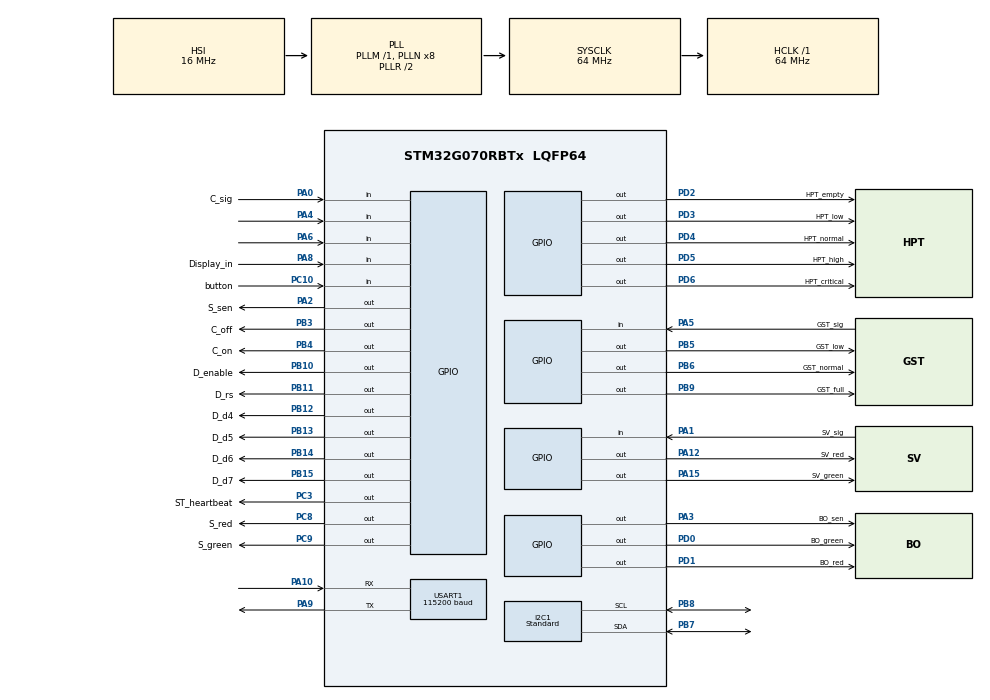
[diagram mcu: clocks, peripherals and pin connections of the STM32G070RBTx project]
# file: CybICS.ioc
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FREERTOS.Tasks01=defaultTask,0,128,FdefaultTask,Default,NULL,Dynamic,NULL,NULL;heartBeat,-3,128,FheartBeat,Default,NULL,Dynamic,NULL,NULL;display,0,256,Fdisplay,Default,NULL,Dynamic,NULL,NULL;physical,1,256,Fphysical,Default,NULL,Dynamic,NULL,NULL;i2chandler,0,128,Fi2chandler,Default,NULL,Dynamic,NULL,NULL;writeOutput,3,128,FwriteOutput,Default,NULL,Dynamic,NULL,NULL;uart,-2,256,Fuart,Default,NULL,Dynamic,NULL,NULL
FREERTOS.configCHECK_FOR_STACK_OVERFLOW=2
FREERTOS.configGENERATE_RUN_TIME_STATS=1
FREERTOS.configTOTAL_HEAP_SIZE=8192
FREERTOS.configUSE_STATS_FORMATTING_FUNCTIONS=1
I2C1.CustomTiming=Disabled
I2C1.DualAddressMode=I2C_DUALADDRESS_DISABLE
I2C1.GeneralCallMode=I2C_GENERALCALL_ENABLE
I2C1.I2C_Speed_Mode=I2C_Standard
I2C1.NoStretchMode=I2C_NOSTRETCH_DISABLE
I2C1.OwnAddress=0x20
I2C1.Timing=0x10707DBC
Mcu.Family=STM32G0
Mcu.Name=STM32G070RBTx
Mcu.Package=LQFP64
NVIC.I2C1_IRQn=true\:3\:0\:false\:false\:true\:true\:true\:true\:true
NVIC.TIM1_BRK_UP_TRG_COM_IRQn=true\:3\:0\:false\:false\:true\:false\:false\:true\:true
NVIC.TimeBase=TIM1_BRK_UP_TRG_COM_IRQn
NVIC.TimeBaseIP=TIM1
PA0.GPIO_Label=C_sig
PA0.Signal=GPIO_Input
PA1.GPIO_Label=SV_sig
PA1.Signal=GPIO_Input
PA10.GPIO_FMPA10=SYSCFG_FASTMODEPLUS_PA10
PA10.GPIO_PuPd=GPIO_PULLUP
PA10.GPIO_Speed=GPIO_SPEED_FREQ_VERY_HIGH
PA10.Mode=Asynchronous
PA10.Signal=USART1_RX
PA12\ [PA10].GPIO_Label=SV_red
PA12\ [PA10].Signal=GPIO_Output
PA13.Mode=Serial_Wire
PA13.Signal=SYS_SWDIO
PA14-BOOT0.Mode=Serial_Wire
PA14-BOOT0.Signal=SYS_SWCLK
PA15.GPIO_Label=SV_green
PA15.Signal=GPIO_Output
PA2.GPIO_Label=S_sen
PA2.Signal=GPIO_Output
PA3.GPIO_Label=BO_sen
PA3.Signal=GPIO_Output
PA4.Signal=GPIO_Input
PA5.GPIO_Label=GST_sig
PA5.Signal=GPIO_Input
PA6.Signal=GPIO_Input
PA8.GPIO_Label=Display_in
PA8.Signal=GPIO_Input
PA9.GPIO_FMPA9=SYSCFG_FASTMODEPLUS_PA9
PA9.GPIO_PuPd=GPIO_PULLUP
PA9.GPIO_Speed=GPIO_SPEED_FREQ_VERY_HIGH
PA9.Mode=Asynchronous
PA9.Signal=USART1_TX
PB10.GPIO_Label=D_enable
PB10.Signal=GPIO_Output
PB11.GPIO_Label=D_rs
PB11.Signal=GPIO_Output
PB12.GPIO_Label=D_d4
PB12.Signal=GPIO_Output
PB13.GPIO_Label=D_d5
PB13.Signal=GPIO_Output
PB14.GPIO_Label=D_d6
PB14.Signal=GPIO_Output
PB15.GPIO_Label=D_d7
PB15.Signal=GPIO_Output
PB3.GPIO_Label=C_off
PB3.Signal=GPIO_Output
PB4.GPIO_Label=C_on
PB4.Signal=GPIO_Output
PB5.GPIO_Label=GST_low
PB5.Signal=GPIO_Output
PB6.GPIO_Label=GST_normal
PB6.Signal=GPIO_Output
PB7.GPIO_Mode=GPIO_MODE_AF_OD
PB7.GPIO_Pu=GPIO_NOPULL
PB7.GPIO_Speed=GPIO_SPEED_FREQ_LOW
PB7.Mode=I2C
PB7.Signal=I2C1_SDA
PB8.GPIO_Mode=GPIO_MODE_AF_OD
PB8.GPIO_Pu=GPIO_NOPULL
PB8.GPIO_Speed=GPIO_SPEED_FREQ_LOW
PB8.Mode=I2C
PB8.Signal=I2C1_SCL
PB9.GPIO_Label=GST_full
PB9.Signal=GPIO_Output
PC10.GPIO_Label=button
PC10.Signal=GPIO_Input
PC3.GPIO_Label=ST_heartbeat
PC3.Signal=GPIO_Output
PC8.GPIO_Label=S_red
PC8.Signal=GPIO_Output
PC9.GPIO_Label=S_green
PC9.Signal=GPIO_Output
PD0.GPIO_Label=BO_green
PD0.Signal=GPIO_Output
PD1.GPIO_Label=BO_red
PD1.Signal=GPIO_Output
PD2.GPIO_Label=HPT_empty
PD2.Signal=GPIO_Output
PD3.GPIO_Label=HPT_low
PD3.Signal=GPIO_Output
PD4.GPIO_Label=HPT_normal
PD4.Signal=GPIO_Output
PD5.GPIO_Label=HPT_high
PD5.Signal=GPIO_Output
PD6.GPIO_Label=HPT_critical
PD6.Signal=GPIO_Output
ProjectManager.HeapSize=0x200
ProjectManager.StackSize=0x400
ProjectManager.TargetToolchain=Makefile
RCC.ADCFreq_Value=64000000
RCC.AHBFreq_Value=64000000
RCC.CortexFreq_Value=64000000
RCC.EXTERNAL_CLOCK_VALUE=48000
RCC.HCLKFreq_Value=64000000
RCC.HSE_VALUE=8000000
RCC.HSI_VALUE=16000000
RCC.LSE_VALUE=32768
RCC.SYSCLKFreq_VALUE=64000000
RCC.SYSCLKSource=RCC_SYSCLKSOURCE_PLLCLK
RCC.VCOOutputFreq_Value=128000000
USART1.BaudRate=115200
USART1.Mode=MODE_TX_RX
USART1.VirtualMode-Asynchronous=VM_ASYNC
VP_FREERTOS_VS_CMSIS_V1.Mode=CMSIS_V1
VP_SYS_VS_DBSignals.Mode=DisableDeadBatterySignals
VP_SYS_VS_tim1.Mode=TIM1
board=custom

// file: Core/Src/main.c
/* USER CODE BEGIN Header */
/**
  ******************************************************************************
  * @file           : main.c
  * @brief          : Main program body
  ******************************************************************************
  * @attention
  *
  * Copyright (c) 2023 STMicroelectronics.
  * All rights reserved.
  *
  * This software is licensed under terms that can be found in the LICENSE file
  * in the root directory of this software component.
  * If no LICENSE file comes with this software, it is provided AS-IS.
  *
  ******************************************************************************
  */
/* USER CODE END Header */
#include "main.h"
#include "cmsis_os.h"

/* USER CODE BEGIN Includes */
#include "stm32g0xx_ll_utils.h"
#include "display.h"
#include "colors.h"
#include <stdio.h>
#include <errno.h>
#include <stdlib.h>
#include <sys/unistd.h>
#include <sys/stat.h>
#include <sys/times.h>
#include <sys/types.h>
/* USER CODE END Includes */

/* USER CODE BEGIN PTD */
uint8_t RxData[20] = {0,0,0,0,0,0,0,0,0,0,0,0,0,0,0,0,0,0,0,0};

uint8_t TxData[20] = {'X','X','X',':',' ','0','0','0',' ','H','P','T',':',' ','0','0','0'};
uint8_t TxDataUID[13] = {0};
char rpiIP[15] = {'U','N','K','N','O','W','N',0,0,0,0,0,0,0,0};
uint8_t GSTpressure=0;
uint8_t HPTpressure=0;

// Login credentials
#define LOGIN_PASSWORD "cyb"

// Menu options
#define MENU_STATUS '1'
#define MENU_FLAG '2'
#define MENU_CONTROLS '3'
#define MENU_FREERTOS '4'
#define MENU_MCU '5'
#define MENU_HELP '6'
#define MENU_LOGOUT '7'

uint8_t C_on = 0;
uint8_t C_off = 0;
uint8_t S_green = 0;
uint8_t S_red = 0;
uint8_t S_sen = 0;
uint8_t SV_green = 0;
uint8_t SV_red = 0;
uint8_t BO_red = 0;
uint8_t BO_green = 0;
uint8_t BO_sen = 0;
uint8_t GST_full = 0;
uint8_t GST_normal = 0;
uint8_t GST_low = 0;
uint8_t HPT_critical = 0;
uint8_t HPT_high = 0;
uint8_t HPT_normal = 0;
uint8_t HPT_low = 0;
uint8_t HPT_empty = 0;

/* USER CODE END PTD */

/* USER CODE BEGIN PD */
#define LOG_ERR 0x03
#define LOG_WAR 0x02
#define LOG_INF 0x01
#define LOG_DEB 0x00

#define showLogLevel LOG_DEB
/* USER CODE END PD */

I2C_HandleTypeDef hi2c1;

UART_HandleTypeDef huart1;

osThreadId defaultTaskHandle;
osThreadId heartBeatHandle;
osThreadId displayHandle;
osThreadId physicalHandle;
osThreadId i2chandlerHandle;
osThreadId writeOutputHandle;
osThreadId uartHandle;

void SystemClock_Config(void);
static void MX_GPIO_Init(void);
static void MX_I2C1_Init(void);
static void MX_USART1_UART_Init(void);
void FdefaultTask(void const * argument);
void FheartBeat(void const * argument);
void Fdisplay(void const * argument);
void Fphysical(void const * argument);
void Fi2chandler(void const * argument);
void FwriteOutput(void const * argument);
void Fuart(void const * argument);

/* USER CODE BEGIN PFP */
#ifdef __GNUC__
#define PUTCHAR_PROTOTYPE int __io_putchar(int ch)
#else
#define PUTCHAR_PROTOTYPE int fputc(int ch, FILE *f)
#endif

/* USER CODE END PFP */

/* USER CODE BEGIN 0 */
SemaphoreHandle_t huart1Mutex;

// System call implementations
int _write(int file, char * data, int len) {
    if ((file != STDOUT_FILENO) && (file != STDERR_FILENO)) {
        errno = EBADF;
        return -1;
    }

    HAL_StatusTypeDef status = HAL_OK;
    if (xSemaphoreTake(huart1Mutex, 100) == pdTRUE) {
        status = HAL_UART_Transmit(&huart1, (uint8_t *)data, len, 100);
        xSemaphoreGive(huart1Mutex);
    }

    return (status == HAL_OK ? len : 0);
}

int _read(int file, char *ptr, int len) {
    if (file != STDIN_FILENO) {
        errno = EBADF;
        return -1;
    }
    return 0;
}

int _close(int file) {
    return -1;
}

int _fstat(int file, struct stat *st) {
    st->st_mode = S_IFCHR;
    return 0;
}

int _isatty(int file) {
    return 1;
}

int _lseek(int file, int ptr, int dir) {
    return 0;
}

int _open(char *path, int flags, ...) {
    return -1;
}

int _wait(int *status) {
    errno = ECHILD;
    return -1;
}

int _unlink(char *name) {
    errno = ENOENT;
    return -1;
}

int _times(struct tms *buf) {
    return -1;
}

int _stat(char *file, struct stat *st) {
    st->st_mode = S_IFCHR;
    return 0;
}

int _link(char *old, char *new) {
    errno = EMLINK;
    return -1;
}

void _exit(int status) {
    while(1);
}

int _kill(int pid, int sig) {
    errno = EINVAL;
    return -1;
}

int _getpid(void) {
    return 1;
}

void logging(unsigned char logLevel, const char *fmt, ...){
    if(showLogLevel <= logLevel){
        if(logLevel == LOG_ERR)
        {
            printf("%sERR: %s%s\r\n", CRED, fmt, CRST);
        }
        else if(logLevel == LOG_WAR)
        {
            printf("%sWAR: %s%s\r\n", CYEL, fmt, CRST);
        }
        else if(logLevel == LOG_INF)
        {
            printf("%sINF: %s%s\r\n", CBLU, fmt, CRST);
        }
        else if(logLevel == LOG_DEB)
        {
            printf("%sDEB: %s%s\r\n", CMAG, fmt, CRST);
        }
        else
        {
            printf("%s???: %s%s\r\n", CRED, fmt, CRST);
        }
    }
}
/* USER CODE END 0 */

int main(void)
{

  /* MCU Configuration--------------------------------------------------------*/

  /* Reset of all peripherals, Initializes the Flash interface and the Systick. */
  HAL_Init();

  /* Configure the system clock */
  SystemClock_Config();

  /* Initialize all configured peripherals */
  MX_GPIO_Init();
  MX_I2C1_Init();
  MX_USART1_UART_Init();
  /* USER CODE BEGIN 2 */
  if(HAL_I2C_EnableListen_IT(&hi2c1) != HAL_OK)
  {
    /* Transfer error in reception process */
    Error_Handler();
  }

  huart1Mutex = xSemaphoreCreateMutex();
  /* USER CODE END 2 */

  /* Create the thread(s) */
  /* definition and creation of defaultTask */
  osThreadDef(defaultTask, FdefaultTask, osPriorityNormal, 0, 128);
  defaultTaskHandle = osThreadCreate(osThread(defaultTask), NULL);

  /* definition and creation of heartBeat */
  osThreadDef(heartBeat, FheartBeat, osPriorityIdle, 0, 128);
  heartBeatHandle = osThreadCreate(osThread(heartBeat), NULL);

  /* definition and creation of display */
  osThreadDef(display, Fdisplay, osPriorityNormal, 0, 256);
  displayHandle = osThreadCreate(osThread(display), NULL);

  /* definition and creation of physical */
  osThreadDef(physical, Fphysical, osPriorityAboveNormal, 0, 256);
  physicalHandle = osThreadCreate(osThread(physical), NULL);

  /* definition and creation of i2chandler */
  osThreadDef(i2chandler, Fi2chandler, osPriorityNormal, 0, 128);
  i2chandlerHandle = osThreadCreate(osThread(i2chandler), NULL);

  /* definition and creation of writeOutput */
  osThreadDef(writeOutput, FwriteOutput, osPriorityRealtime, 0, 128);
  writeOutputHandle = osThreadCreate(osThread(writeOutput), NULL);

  /* definition and creation of uart */
  osThreadDef(uart, Fuart, osPriorityLow, 0, 256);
  uartHandle = osThreadCreate(osThread(uart), NULL);

  /* Start scheduler */
  osKernelStart();

  /* We should never get here as control is now taken by the scheduler */

  /* Infinite loop */
  while (1)
  {

  }
}

void SystemClock_Config(void)
{
  RCC_OscInitTypeDef RCC_OscInitStruct = {0};
  RCC_ClkInitTypeDef RCC_ClkInitStruct = {0};

  /** Configure the main internal regulator output voltage
  */
  HAL_PWREx_ControlVoltageScaling(PWR_REGULATOR_VOLTAGE_SCALE1);

  /** Initializes the RCC Oscillators according to the specified parameters
  * in the RCC_OscInitTypeDef structure.
  */
  RCC_OscInitStruct.OscillatorType = RCC_OSCILLATORTYPE_HSI;
  RCC_OscInitStruct.HSIState = RCC_HSI_ON;
  RCC_OscInitStruct.HSIDiv = RCC_HSI_DIV1;
  RCC_OscInitStruct.HSICalibrationValue = RCC_HSICALIBRATION_DEFAULT;
  RCC_OscInitStruct.PLL.PLLState = RCC_PLL_ON;
  RCC_OscInitStruct.PLL.PLLSource = RCC_PLLSOURCE_HSI;
  RCC_OscInitStruct.PLL.PLLM = RCC_PLLM_DIV1;
  RCC_OscInitStruct.PLL.PLLN = 8;
  RCC_OscInitStruct.PLL.PLLP = RCC_PLLP_DIV2;
  RCC_OscInitStruct.PLL.PLLR = RCC_PLLR_DIV2;
  if (HAL_RCC_OscConfig(&RCC_OscInitStruct) != HAL_OK)
  {
    Error_Handler();
  }

  /** Initializes the CPU, AHB and APB buses clocks
  */
  RCC_ClkInitStruct.ClockType = RCC_CLOCKTYPE_HCLK|RCC_CLOCKTYPE_SYSCLK
                              |RCC_CLOCKTYPE_PCLK1;
  RCC_ClkInitStruct.SYSCLKSource = RCC_SYSCLKSOURCE_PLLCLK;
  RCC_ClkInitStruct.AHBCLKDivider = RCC_SYSCLK_DIV1;
  RCC_ClkInitStruct.APB1CLKDivider = RCC_HCLK_DIV1;

  if (HAL_RCC_ClockConfig(&RCC_ClkInitStruct, FLASH_LATENCY_2) != HAL_OK)
  {
    Error_Handler();
  }
}

static void MX_I2C1_Init(void)
{

  hi2c1.Instance = I2C1;
  hi2c1.Init.Timing = 0x10707DBC;
  hi2c1.Init.OwnAddress1 = 64;
  hi2c1.Init.AddressingMode = I2C_ADDRESSINGMODE_7BIT;
  hi2c1.Init.DualAddressMode = I2C_DUALADDRESS_DISABLE;
  hi2c1.Init.OwnAddress2 = 0;
  hi2c1.Init.OwnAddress2Masks = I2C_OA2_NOMASK;
  hi2c1.Init.GeneralCallMode = I2C_GENERALCALL_ENABLE;
  hi2c1.Init.NoStretchMode = I2C_NOSTRETCH_DISABLE;
  if (HAL_I2C_Init(&hi2c1) != HAL_OK)
  {
    Error_Handler();
  }

  /** Configure Analogue filter
  */
  if (HAL_I2CEx_ConfigAnalogFilter(&hi2c1, I2C_ANALOGFILTER_ENABLE) != HAL_OK)
  {
    Error_Handler();
  }

  /** Configure Digital filter
  */
  if (HAL_I2CEx_ConfigDigitalFilter(&hi2c1, 0) != HAL_OK)
  {
    Error_Handler();
  }

}

static void MX_USART1_UART_Init(void)
{

  huart1.Instance = USART1;
  huart1.Init.BaudRate = 115200;
  huart1.Init.WordLength = UART_WORDLENGTH_8B;
  huart1.Init.StopBits = UART_STOPBITS_1;
  huart1.Init.Parity = UART_PARITY_NONE;
  huart1.Init.Mode = UART_MODE_TX_RX;
  huart1.Init.HwFlowCtl = UART_HWCONTROL_NONE;
  huart1.Init.OverSampling = UART_OVERSAMPLING_16;
  huart1.Init.OneBitSampling = UART_ONE_BIT_SAMPLE_DISABLE;
  huart1.Init.ClockPrescaler = UART_PRESCALER_DIV1;
  huart1.AdvancedInit.AdvFeatureInit = UART_ADVFEATURE_NO_INIT;
  if (HAL_UART_Init(&huart1) != HAL_OK)
  {
    Error_Handler();
  }
  if (HAL_UARTEx_SetTxFifoThreshold(&huart1, UART_TXFIFO_THRESHOLD_1_8) != HAL_OK)
  {
    Error_Handler();
  }
  if (HAL_UARTEx_SetRxFifoThreshold(&huart1, UART_RXFIFO_THRESHOLD_1_8) != HAL_OK)
  {
    Error_Handler();
  }
  if (HAL_UARTEx_DisableFifoMode(&huart1) != HAL_OK)
  {
    Error_Handler();
  }

}

static void MX_GPIO_Init(void)
{
  GPIO_InitTypeDef GPIO_InitStruct = {0};

  /* GPIO Ports Clock Enable */
  __HAL_RCC_GPIOC_CLK_ENABLE();
  __HAL_RCC_GPIOA_CLK_ENABLE();
  __HAL_RCC_GPIOB_CLK_ENABLE();
  __HAL_RCC_GPIOD_CLK_ENABLE();

  /*Configure GPIO pin Output Level */
  HAL_GPIO_WritePin(GPIOC, ST_heartbeat_Pin|S_red_Pin|S_green_Pin, GPIO_PIN_RESET);

  /*Configure GPIO pin Output Level */
  HAL_GPIO_WritePin(GPIOA, S_sen_Pin|BO_sen_Pin|SV_red_Pin|SV_green_Pin, GPIO_PIN_RESET);

  /*Configure GPIO pin Output Level */
  HAL_GPIO_WritePin(GPIOB, D_enable_Pin|D_rs_Pin|D_d4_Pin|D_d5_Pin
                          |D_d6_Pin|D_d7_Pin|C_off_Pin|C_on_Pin
                          |GST_low_Pin|GST_normal_Pin|GST_full_Pin, GPIO_PIN_RESET);

  /*Configure GPIO pin Output Level */
  HAL_GPIO_WritePin(GPIOD, BO_green_Pin|BO_red_Pin|HPT_empty_Pin|HPT_low_Pin
                          |HPT_normal_Pin|HPT_high_Pin|HPT_critical_Pin, GPIO_PIN_RESET);

  /*Configure GPIO pins : ST_heartbeat_Pin S_red_Pin S_green_Pin */
  GPIO_InitStruct.Pin = ST_heartbeat_Pin|S_red_Pin|S_green_Pin;
  GPIO_InitStruct.Mode = GPIO_MODE_OUTPUT_PP;
  GPIO_InitStruct.Pull = GPIO_NOPULL;
  GPIO_InitStruct.Speed = GPIO_SPEED_FREQ_LOW;
  HAL_GPIO_Init(GPIOC, &GPIO_InitStruct);

  /*Configure GPIO pins : C_sig_Pin SV_sig_Pin PA4 GST_sig_Pin
                           PA6 Display_in_Pin */
  GPIO_InitStruct.Pin = C_sig_Pin|SV_sig_Pin|GPIO_PIN_4|GST_sig_Pin
                          |GPIO_PIN_6|Display_in_Pin;
  GPIO_InitStruct.Mode = GPIO_MODE_INPUT;
  GPIO_InitStruct.Pull = GPIO_NOPULL;
  HAL_GPIO_Init(GPIOA, &GPIO_InitStruct);

  /*Configure GPIO pins : S_sen_Pin BO_sen_Pin SV_red_Pin SV_green_Pin */
  GPIO_InitStruct.Pin = S_sen_Pin|BO_sen_Pin|SV_red_Pin|SV_green_Pin;
  GPIO_InitStruct.Mode = GPIO_MODE_OUTPUT_PP;
  GPIO_InitStruct.Pull = GPIO_NOPULL;
  GPIO_InitStruct.Speed = GPIO_SPEED_FREQ_LOW;
  HAL_GPIO_Init(GPIOA, &GPIO_InitStruct);

  /*Configure GPIO pins : D_enable_Pin D_rs_Pin D_d4_Pin D_d5_Pin
                           D_d6_Pin D_d7_Pin C_off_Pin C_on_Pin
                           GST_low_Pin GST_normal_Pin GST_full_Pin */
  GPIO_InitStruct.Pin = D_enable_Pin|D_rs_Pin|D_d4_Pin|D_d5_Pin
                          |D_d6_Pin|D_d7_Pin|C_off_Pin|C_on_Pin
                          |GST_low_Pin|GST_normal_Pin|GST_full_Pin;
  GPIO_InitStruct.Mode = GPIO_MODE_OUTPUT_PP;
  GPIO_InitStruct.Pull = GPIO_NOPULL;
  GPIO_InitStruct.Speed = GPIO_SPEED_FREQ_LOW;
  HAL_GPIO_Init(GPIOB, &GPIO_InitStruct);

  /*Configure GPIO pins : BO_green_Pin BO_red_Pin HPT_empty_Pin HPT_low_Pin
                           HPT_normal_Pin HPT_high_Pin HPT_critical_Pin */
  GPIO_InitStruct.Pin = BO_green_Pin|BO_red_Pin|HPT_empty_Pin|HPT_low_Pin
                          |HPT_normal_Pin|HPT_high_Pin|HPT_critical_Pin;
  GPIO_InitStruct.Mode = GPIO_MODE_OUTPUT_PP;
  GPIO_InitStruct.Pull = GPIO_NOPULL;
  GPIO_InitStruct.Speed = GPIO_SPEED_FREQ_LOW;
  HAL_GPIO_Init(GPIOD, &GPIO_InitStruct);

  /*Configure GPIO pin : button_Pin */
  GPIO_InitStruct.Pin = button_Pin;
  GPIO_InitStruct.Mode = GPIO_MODE_INPUT;
  GPIO_InitStruct.Pull = GPIO_NOPULL;
  HAL_GPIO_Init(button_GPIO_Port, &GPIO_InitStruct);

}

/* USER CODE BEGIN 4 */
void HAL_I2C_ListenCpltCallback (I2C_HandleTypeDef *hi2c)
{
	HAL_I2C_EnableListen_IT(hi2c);
}

void HAL_I2C_AddrCallback(I2C_HandleTypeDef *hi2c, uint8_t TransferDirection, uint16_t AddrMatchCode)
{
	if(TransferDirection == I2C_DIRECTION_TRANSMIT)  // if the master wants to transmit the data
	{
		HAL_I2C_Slave_Sequential_Receive_IT(hi2c, RxData, sizeof(RxData), I2C_FIRST_AND_LAST_FRAME);
	}
	else  // master requesting the data is not supported yet
	{
    if(RxData[0]==0){
		  HAL_I2C_Slave_Sequential_Transmit_IT(hi2c, TxData, sizeof(TxData), I2C_LAST_FRAME);
    }
    else if(RxData[0]==1){
      HAL_I2C_Slave_Sequential_Transmit_IT(hi2c, TxDataUID, sizeof(TxDataUID), I2C_LAST_FRAME);
    }
	}
}

void HAL_I2C_SlaveRxCpltCallback(I2C_HandleTypeDef *hi2c)
{

}

void HAL_I2C_ErrorCallback(I2C_HandleTypeDef *hi2c)
{
	HAL_I2C_EnableListen_IT(hi2c);
}
/* USER CODE END 4 */

void FdefaultTask(void const * argument)
{
  for(;;)
  {
    osDelay(1);
  }
}

void FheartBeat(void const * argument)
{
  /* USER CODE BEGIN FheartBeat */
  logging(LOG_DEB, "Starting FheartBeat");
  /* Infinite loop */
  for(;;)
  {
    HAL_GPIO_TogglePin(ST_heartbeat_GPIO_Port, ST_heartbeat_Pin);

    osDelay(1000);
  }
  /* USER CODE END FheartBeat */
}

void Fdisplay(void const * argument)
{
  /* USER CODE BEGIN Fdisplay */
  uint8_t shifting=0;
  uint8_t displayScreen=0;
  uint32_t secondsAfterStart = 0;
  uint8_t wifiPressed = 0;
  char displayText[20];

  osDelay(10);

  Lcd_PortType ports[] = {
		  D_d4_GPIO_Port, D_d5_GPIO_Port, D_d6_GPIO_Port, D_d7_GPIO_Port
  };

  Lcd_PinType pins[] = {D_d4_Pin, D_d5_Pin, D_d6_Pin, D_d7_Pin};
  Lcd_HandleTypeDef lcd = Lcd_create(ports, pins, D_rs_GPIO_Port, D_rs_Pin, D_enable_GPIO_Port, D_enable_Pin, LCD_4_BIT_MODE);

  logging(LOG_DEB, "Starting Fdisplay");

  snprintf((char*)TxDataUID, sizeof(TxDataUID), "%04lx%04lx%04lx", LL_GetUID_Word0(), LL_GetUID_Word1(), LL_GetUID_Word2());
  TxDataUID[12]='0'; // default STA

  /* Infinite loop */
  for(;;)
  {
    // Switch between station and AP mode of Wifi
    if(HAL_GPIO_ReadPin(button_GPIO_Port, button_Pin)){
      if(!wifiPressed){
        if(TxDataUID[12]=='0'){
          TxDataUID[12]='1';
        }
        else{
          TxDataUID[12]='0';
        }
        snprintf(rpiIP, sizeof(rpiIP), "%-14s", "Unknown");
        shifting=0;
        wifiPressed=1;
      }
    }
    else{
      wifiPressed=0;
    }

    // Switch between displays if Display button is pressed
    if(HAL_GPIO_ReadPin(Display_in_GPIO_Port, Display_in_Pin)){
      displayScreen++;
      if(displayScreen>3){
        displayScreen=0;
      }
    }

    secondsAfterStart++;
    // Display showing Cybics string and IP
    if(0==displayScreen){
      snprintf(displayText, sizeof(displayText), "%-16s", "CybICS v1.1.2");
      Lcd_cursor(&lcd, 0, 0);
      Lcd_string(&lcd, displayText);
      snprintf(displayText, sizeof(displayText), "%16li", secondsAfterStart);
      Lcd_cursor(&lcd, 1, 0);
      Lcd_string(&lcd, displayText);
    }
    // Display WiFi configuration
    else if(1==displayScreen){
      if(TxDataUID[12]=='0'){
        snprintf(displayText, sizeof(displayText), "%-16s", "Wifi STA mode");
        Lcd_cursor(&lcd, 0, 0);
        Lcd_string(&lcd, displayText);
        snprintf(displayText, sizeof(displayText), "IP: %-12s", &rpiIP[shifting]);
        Lcd_cursor(&lcd, 1, 0);
        Lcd_string(&lcd, displayText);

        if(strlen(rpiIP)>12)
        {
          shifting++;
        }
        if(shifting>3)
        {
          shifting=0;
        }
      }
      else if(TxDataUID[12]=='1'){
        snprintf(displayText, sizeof(displayText), "%-16s", "AP mode: cybics-");
        Lcd_cursor(&lcd, 0, 0);
        Lcd_string(&lcd, displayText);
        snprintf(displayText, sizeof(displayText), "%-16s", TxDataUID);
        displayText[12]=' '; // removing the 1, which is not part of the UID
        Lcd_cursor(&lcd, 1, 0);
        Lcd_string(&lcd, displayText);
      }
      else{
        snprintf(displayText, sizeof(displayText), "%-16s", "WiFi error");
        Lcd_cursor(&lcd, 0, 0);
        Lcd_string(&lcd, displayText);
      }
    }
    // Display showing real pressure values
    else if(2==displayScreen){
      snprintf(displayText, sizeof(displayText), "%-16s", "Physical/real:  ");
      Lcd_cursor(&lcd, 0, 0);
      Lcd_string(&lcd, displayText);
      snprintf(displayText, sizeof(displayText), "GST:%03d HPT:%03d ", GSTpressure, HPTpressure);
      Lcd_cursor(&lcd, 1, 0);
      Lcd_string(&lcd, displayText);
    }
    // Display showing status
    else if(3==displayScreen){
      snprintf(displayText, sizeof(displayText), "%-16s", "Status:");
      Lcd_cursor(&lcd, 0, 0);
      Lcd_string(&lcd, displayText);
      if(BO_sen>0){
        snprintf(displayText, sizeof(displayText), "%-16s", "Danger! BlowOut");
      }
      else if((HPTpressure>50) && (HPTpressure<100) && SV_green){
        snprintf(displayText, sizeof(displayText), "%-16s", "Operational");
      }
      else if((HPTpressure>50) && (HPTpressure<100)){
        snprintf(displayText, sizeof(displayText), "%-16s", "SV closed");
      }
      else if(HPTpressure>100){
        snprintf(displayText, sizeof(displayText), "%-16s", "Pressure too high");
      }
      else if(HPTpressure<=50){
        snprintf(displayText, sizeof(displayText), "%-16s", "Pressure too low");
      }
      Lcd_cursor(&lcd, 1, 0);
      Lcd_string(&lcd, displayText);
    }

    osDelay(1000);
  }
  /* USER CODE END Fdisplay */
}

void Fphysical(void const * argument)
{
  /* USER CODE BEGIN Fphysical */
  uint8_t HPTuse=0;
  osDelay(20);

  logging(LOG_DEB, "Starting Fphysical");

  GPIO_PinState cState; // state of the compressor
  GPIO_PinState svState; // state of the system valve
  GPIO_PinState gstState; // state of refilling GST

  uint16_t HPTdelay=0;
  uint16_t GSTdelay=0;
  uint16_t BOdelay=0;
  /* Infinite loop */
  for(;;)
  {
    //GPIO_PinState buttonState = HAL_GPIO_ReadPin(button_GPIO_Port, button_Pin);
    cState = HAL_GPIO_ReadPin(C_sig_GPIO_Port, C_sig_Pin);
    svState = HAL_GPIO_ReadPin(SV_sig_GPIO_Port, SV_sig_Pin);
    gstState = HAL_GPIO_ReadPin(GST_sig_GPIO_Port, GST_sig_Pin);

    /**
     * When compressor is running:
     * - Increase HPT pressure
     * - LED Compressor should be green
    */
    if(cState)
    {
      C_on = 1;
      C_off = 0;
      if(HPTdelay>100) // increase pressure 1 per second
      {
        if(HPTpressure<255)
        {
          if(GSTpressure>=50){ // HPT pressure can only be increased, if GST >= 50
            GSTpressure = GSTpressure - 2;
            HPTpressure++;
          }
        }
        HPTdelay=0;
      }

    }
    else
    {
      C_on = 0;
      C_off = 1;
      if(HPTdelay>100) // decrease pressure in rand%5 per second
      {
        HPTuse = rand() % 3;
        // decrease presussure only if > 0 and system valve is open
        if(((HPTpressure-HPTuse)>=0) & svState)
        {
          HPTpressure = HPTpressure - HPTuse;
        }
        HPTdelay=0;
      }
    }

    if(GSTdelay>100)
    {
      if((GSTpressure<251) & (gstState))
      {
        GSTpressure = GSTpressure + (rand() % 4);
      }
      GSTdelay=0;
    }

    if(svState)
    {
      SV_green = 1;
      SV_red = 0;
    }
    else
    {
      SV_green = 0;
      SV_red = 1;
    }

    if(HPTpressure<1)
    {
      HPT_critical = 0;
      HPT_high = 0;
      HPT_normal = 0;
      HPT_low = 0;
      HPT_empty = 1;
    }
    else if (HPTpressure<50)
    {
      HPT_critical = 0;
      HPT_high = 0;
      HPT_normal = 0;
      HPT_low = 1;
      HPT_empty = 0;
    }
    else if (HPTpressure<100)
    {
      HPT_critical = 0;
      HPT_high = 0;
      HPT_normal = 1;
      HPT_low = 0;
      HPT_empty = 0;
    }
    else if (HPTpressure<150)
    {
      HPT_critical = 0;
      HPT_high = 1;
      HPT_normal = 0;
      HPT_low = 0;
      HPT_empty = 0;
    }
    else
    {
      HPT_critical = 1;
      HPT_high = 0;
      HPT_normal = 0;
      HPT_low = 0;
      HPT_empty = 0;
    }

    /**
     * Blowout if the HPTpressure if over 220
     * Until HTP pressure < 201
    */
    if((HPTpressure>220) || ((HPTpressure>200) & (BO_sen > 0)))
    {
      BO_red = 1;
      BO_green = 0;
      BO_sen = 1;
      if(BOdelay>100) // decrease pressure 1 per second
      {
        HPTuse = rand() % 2;
        if((HPTpressure-HPTuse)>=0)
        {
          HPTpressure = HPTpressure - HPTuse;
        }
        BOdelay=0;
      }
    }
    else
    {
      BO_red = 0;
      BO_green = 1;
      BO_sen = 0;
    }

    /**
     * System operating, when pressure is in normal range
     * And System valve is open
    */
    if((HPTpressure>50) && (HPTpressure<100) && svState)
    {
      S_red = 0;
      S_green = 1;
      S_sen  = 1;
    }
    else
    {
      S_red = 1;
      S_green = 0;
      S_sen  = 0;
    }
    /**
     * Gas Storage Tank
    */
    if(GSTpressure<50)
    {
      GST_low = 1;
      GST_normal = 0;
      GST_full = 0;
    }
    else if(GSTpressure<150)
    {
      GST_low = 0;
      GST_normal = 1;
      GST_full = 0;
    }
    else
    {
      GST_low = 0;
      GST_normal = 0;
      GST_full = 1;
    }

    /**
     * Set the right values in the TX Data:
     * - GSTTpressure
     * - HPTpressure
     * Format: GST: %03d HPT: %03d
    */
    snprintf((char*)TxData, sizeof(TxData), "GST: %03d HPT: %03d", GSTpressure, HPTpressure);

    HPTdelay = HPTdelay+1;
    GSTdelay = GSTdelay+1;
    BOdelay = BOdelay+1;
    osDelay(10);
  }
  /* USER CODE END Fphysical */
}

void Fi2chandler(void const * argument)
{
  /* USER CODE BEGIN Fi2chandler */
  osDelay(30);
  logging(LOG_DEB, "Starting Fi2chandler");
  /* Infinite loop */
  for(;;)
  {
    if(RxData[1]=='I' && RxData[2]=='P')
    {
      for(u_int8_t counter=0; counter<sizeof(rpiIP); counter++)
      {
        rpiIP[counter] = RxData[counter+4];
      }
    }

    osDelay(100);
  }
  /* USER CODE END Fi2chandler */
}

void FwriteOutput(void const * argument)
{
  /* USER CODE BEGIN FwriteOutput */
  osDelay(1);

  /* Infinite loop */
  for(;;)
  {
    // clear Gas Storage Tank LEDs
    HAL_GPIO_WritePin(GST_full_GPIO_Port, GST_full_Pin, GPIO_PIN_SET);
    //HAL_GPIO_WritePin(GST_normal_GPIO_Port, GST_normal_Pin, GPIO_PIN_SET);
    HAL_GPIO_WritePin(GST_low_GPIO_Port, GST_low_Pin, GPIO_PIN_SET);

    // clear Compressor LEDs
    //HAL_GPIO_WritePin(C_on_GPIO_Port, C_on_Pin, GPIO_PIN_SET);
    HAL_GPIO_WritePin(C_off_GPIO_Port, C_off_Pin, GPIO_PIN_SET);

    // clear High Pressure Tank LEDs
    HAL_GPIO_WritePin(HPT_critical_GPIO_Port, HPT_critical_Pin, GPIO_PIN_SET);
    HAL_GPIO_WritePin(HPT_high_GPIO_Port, HPT_high_Pin, GPIO_PIN_SET);
    //HAL_GPIO_WritePin(HPT_normal_GPIO_Port, HPT_normal_Pin, GPIO_PIN_SET);
    HAL_GPIO_WritePin(HPT_low_GPIO_Port, HPT_low_Pin, GPIO_PIN_SET);
    HAL_GPIO_WritePin(HPT_empty_GPIO_Port, HPT_empty_Pin, GPIO_PIN_SET);

    // clear Blow Out LEDs
    HAL_GPIO_WritePin(BO_red_GPIO_Port, BO_red_Pin, GPIO_PIN_SET);
    //HAL_GPIO_WritePin(BO_green_GPIO_Port, BO_green_Pin, GPIO_PIN_SET);

    // clear System Valve LEDs
    HAL_GPIO_WritePin(SV_red_GPIO_Port, SV_red_Pin, GPIO_PIN_SET);
    //HAL_GPIO_WritePin(SV_green_GPIO_Port, SV_green_Pin, GPIO_PIN_SET);

    // clear System LEDs
    HAL_GPIO_WritePin(S_red_GPIO_Port, S_red_Pin, GPIO_PIN_SET);
    //HAL_GPIO_WritePin(S_green_GPIO_Port, S_green_Pin, GPIO_PIN_SET);

    osDelay(14);
    if (C_on){
      HAL_GPIO_WritePin(C_on_GPIO_Port, C_on_Pin, GPIO_PIN_RESET);
    }
    else{
      HAL_GPIO_WritePin(C_on_GPIO_Port, C_on_Pin, GPIO_PIN_SET);
    }
    if (C_off){
      HAL_GPIO_WritePin(C_off_GPIO_Port, C_off_Pin, GPIO_PIN_RESET);
    }
    if (SV_red){
      HAL_GPIO_WritePin(SV_red_GPIO_Port, SV_red_Pin, GPIO_PIN_RESET);
    }
    if (SV_green){
      HAL_GPIO_WritePin(SV_green_GPIO_Port, SV_green_Pin, GPIO_PIN_RESET);
    }
    else{
      HAL_GPIO_WritePin(SV_green_GPIO_Port, SV_green_Pin, GPIO_PIN_SET);
    }
    if (GST_full){
      HAL_GPIO_WritePin(GST_full_GPIO_Port, GST_full_Pin, GPIO_PIN_RESET);
    }
    if (GST_normal){
      HAL_GPIO_WritePin(GST_normal_GPIO_Port, GST_normal_Pin, GPIO_PIN_RESET);
    }
    else{
      HAL_GPIO_WritePin(GST_normal_GPIO_Port, GST_normal_Pin, GPIO_PIN_SET);
    }
    if (GST_low){
      HAL_GPIO_WritePin(GST_low_GPIO_Port, GST_low_Pin, GPIO_PIN_RESET);
    }
    if (HPT_critical){
      HAL_GPIO_WritePin(HPT_critical_GPIO_Port, HPT_critical_Pin, GPIO_PIN_RESET);
    }
    if (HPT_high){
      HAL_GPIO_WritePin(HPT_high_GPIO_Port, HPT_high_Pin, GPIO_PIN_RESET);
     }
    if (HPT_normal){
      HAL_GPIO_WritePin(HPT_normal_GPIO_Port, HPT_normal_Pin, GPIO_PIN_RESET);
    }
    else{
      HAL_GPIO_WritePin(HPT_normal_GPIO_Port, HPT_normal_Pin, GPIO_PIN_SET);
    }
    if (HPT_low){
      HAL_GPIO_WritePin(HPT_low_GPIO_Port, HPT_low_Pin, GPIO_PIN_RESET);
    }
    if (HPT_empty){
      HAL_GPIO_WritePin(HPT_empty_GPIO_Port, HPT_empty_Pin, GPIO_PIN_RESET);
    }
    if (S_red){
      HAL_GPIO_WritePin(S_red_GPIO_Port, S_red_Pin, GPIO_PIN_RESET);
    }
    if (S_green){
      HAL_GPIO_WritePin(S_green_GPIO_Port, S_green_Pin, GPIO_PIN_RESET);
    }
    else{
      HAL_GPIO_WritePin(S_green_GPIO_Port, S_green_Pin, GPIO_PIN_SET);
    }
    if(S_sen){ // Sensor outputs should not be pulsed nor inverted
      HAL_GPIO_WritePin(S_sen_GPIO_Port, S_sen_Pin, GPIO_PIN_SET);
    }
    else{
      HAL_GPIO_WritePin(S_sen_GPIO_Port, S_sen_Pin, GPIO_PIN_RESET);
    }
    if (BO_red){
      HAL_GPIO_WritePin(BO_red_GPIO_Port, BO_red_Pin, GPIO_PIN_RESET);
    }
    if (BO_green){
      HAL_GPIO_WritePin(BO_green_GPIO_Port, BO_green_Pin, GPIO_PIN_RESET);
    }
    else{
      HAL_GPIO_WritePin(BO_green_GPIO_Port, BO_green_Pin, GPIO_PIN_SET);
    }
    if(BO_sen){ // Sensor outputs should not be pulsed nor inverted
      HAL_GPIO_WritePin(BO_sen_GPIO_Port, BO_sen_Pin, GPIO_PIN_SET);
    }
    else{
      HAL_GPIO_WritePin(BO_sen_GPIO_Port, BO_sen_Pin, GPIO_PIN_RESET);
    }

    osDelay(1);
  }
  /* USER CODE END FwriteOutput */
}

void Fuart(void const * argument)
{
  /* USER CODE BEGIN Fuart */
  char statusMsg[50];
  char password[20];
  char input[2];
  uint8_t loggedIn = 0;
  uint8_t rxIndex = 0;
  uint8_t showMenu = 1;  // Flag to control menu display
  uint8_t passwordEntry = 0;  // Flag to track password entry state

  osDelay(1000);  // Initial delay to let system stabilize
  logging(LOG_DEB, "Starting Fuart");

  /* Infinite loop */
  for(;;)
  {
    if (!loggedIn) {
      if (!passwordEntry) {
        logging(LOG_INF, "Please enter password:");
        rxIndex = 0;
        memset(password, 0, sizeof(password));
        passwordEntry = 1;
      }

      // Non-blocking password input
      if (rxIndex < sizeof(password) - 1) {
        if (HAL_UART_Receive(&huart1, (uint8_t*)&password[rxIndex], 1, 100) == HAL_OK) {
          // Echo the character
          HAL_UART_Transmit(&huart1, (uint8_t*)&password[rxIndex], 1, 100);

          // Check for enter key
          if (password[rxIndex] == '\r' || password[rxIndex] == '\n') {
            password[rxIndex] = '\0';
            // Check password
            if (strcmp(password, LOGIN_PASSWORD) == 0) {
              loggedIn = 1;
              logging(LOG_INF, "Login successful!");
              showMenu = 1;
            } else {
              logging(LOG_ERR, "Invalid password. Please try again.");
              passwordEntry = 0;
            }
          } else {
            rxIndex++;
          }
        }
      } else {
        // Buffer full, reset state
        logging(LOG_ERR, "Password too long. Please try again.");
        rxIndex = 0;
        memset(password, 0, sizeof(password));
        passwordEntry = 0;
      }
      osDelay(10);
      continue;
    }

    // Show menu only when needed
    if (showMenu) {
      logging(LOG_INF, "\r\n=== CybICS Menu ===");
      logging(LOG_INF, "1. System Status");
      logging(LOG_INF, "2. Display Flag");
      logging(LOG_INF, "3. System Controls");
      logging(LOG_INF, "4. FreeRTOS Stats");
      logging(LOG_INF, "5. MCU Information");
      logging(LOG_INF, "6. Help");
      logging(LOG_INF, "7. Logout");
      logging(LOG_INF, "Enter choice (1-7): ");
      showMenu = 0;
    }

    // Non-blocking menu choice input
    if (HAL_UART_Receive(&huart1, (uint8_t*)input, 1, 100) == HAL_OK) {
      switch(input[0]) {
        case MENU_STATUS:
          // Display system status
          logging(LOG_INF, "\r\n=== System Status ===");
          snprintf(statusMsg, sizeof(statusMsg), "GST Pressure: %d", GSTpressure);
          logging(LOG_INF, statusMsg);
          snprintf(statusMsg, sizeof(statusMsg), "HPT Pressure: %d", HPTpressure);
          logging(LOG_INF, statusMsg);
          snprintf(statusMsg, sizeof(statusMsg), "Compressor: %s", C_on ? "ON" : "OFF");
          logging(LOG_INF, statusMsg);
          snprintf(statusMsg, sizeof(statusMsg), "System Valve: %s", SV_green ? "OPEN" : "CLOSED");
          logging(LOG_INF, statusMsg);
          snprintf(statusMsg, sizeof(statusMsg), "System Status: %s", S_green ? "OPERATIONAL" : "NOT OPERATIONAL");
          logging(LOG_INF, statusMsg);
          snprintf(statusMsg, sizeof(statusMsg), "Blow Out: %s", BO_sen ? "ACTIVE" : "INACTIVE");
          logging(LOG_INF, statusMsg);
          showMenu = 1;
          break;

        case MENU_FLAG:
          logging(LOG_INF, "\r\n=== CybICS Flag ===");
          logging(LOG_INF, "CybICS(U#RT)");
          showMenu = 1;
          break;

        case MENU_CONTROLS:
          // Display system controls
          logging(LOG_INF, "\r\n=== System Controls ===");
          logging(LOG_INF, "Current Status:");
          logging(LOG_INF, "----------------");
          logging(LOG_INF, "Compressor: %s", C_on ? "Running" : "Stopped");
          logging(LOG_INF, "System Valve: %s", SV_green ? "Open" : "Closed");
          logging(LOG_INF, "Blow Out: %s", BO_sen ? "Active" : "Inactive");
          logging(LOG_INF, "GST Pressure: %d", GSTpressure);
          logging(LOG_INF, "HPT Pressure: %d", HPTpressure);
          logging(LOG_INF, "System Status: %s", S_green ? "OPERATIONAL" : "NOT OPERATIONAL");

          logging(LOG_INF, "\r\nControl Options:");
          logging(LOG_INF, "----------------");
          logging(LOG_INF, "1. Toggle Compressor");
          logging(LOG_INF, "2. Toggle System Valve");
          logging(LOG_INF, "3. Return to Main Menu");
          logging(LOG_INF, "Enter choice (1-3): ");

          // Non-blocking control choice input
          if (HAL_UART_Receive(&huart1, (uint8_t*)input, 1, 100) == HAL_OK) {
            switch(input[0]) {
              case '1':
                if (C_on) {
                  C_on = 0;
                  C_off = 1;
                  logging(LOG_INF, "Compressor stopped");
                } else {
                  C_on = 1;
                  C_off = 0;
                  logging(LOG_INF, "Compressor started");
                }
                break;

              case '2':
                if (SV_green) {
                  SV_green = 0;
                  SV_red = 1;
                  logging(LOG_INF, "System valve closed");
                } else {
                  SV_green = 1;
                  SV_red = 0;
                  logging(LOG_INF, "System valve opened");
                }
                break;

              case '3':
                logging(LOG_INF, "Returning to main menu...");
                break;

              default:
                logging(LOG_ERR, "Invalid control choice");
                break;
            }
            showMenu = 1;
          }
          break;

        case MENU_FREERTOS:
          // Display FreeRTOS statistics
          logging(LOG_INF, "\r\n=== FreeRTOS Statistics ===");

          // Task stats
          logging(LOG_INF, "Task Statistics:");
          logging(LOG_INF, "----------------");

          // Get task stats for each task
          char taskStats[100];
          TaskStatus_t taskStatus;

          // Default Task
          vTaskGetTaskInfo(defaultTaskHandle, &taskStatus, pdTRUE, eRunning);
          snprintf(taskStats, sizeof(taskStats), "Default Task: State=%d, Priority=%lu, Stack=%u",
                  taskStatus.eCurrentState, taskStatus.uxCurrentPriority, taskStatus.usStackHighWaterMark);
          logging(LOG_INF, taskStats);

          // Heartbeat Task
          vTaskGetTaskInfo(heartBeatHandle, &taskStatus, pdTRUE, eRunning);
          snprintf(taskStats, sizeof(taskStats), "Heartbeat Task: State=%d, Priority=%lu, Stack=%u",
                  taskStatus.eCurrentState, taskStatus.uxCurrentPriority, taskStatus.usStackHighWaterMark);
          logging(LOG_INF, taskStats);

          // Display Task
          vTaskGetTaskInfo(displayHandle, &taskStatus, pdTRUE, eRunning);
          snprintf(taskStats, sizeof(taskStats), "Display Task: State=%d, Priority=%lu, Stack=%u",
                  taskStatus.eCurrentState, taskStatus.uxCurrentPriority, taskStatus.usStackHighWaterMark);
          logging(LOG_INF, taskStats);

          // Physical Task
          vTaskGetTaskInfo(physicalHandle, &taskStatus, pdTRUE, eRunning);
          snprintf(taskStats, sizeof(taskStats), "Physical Task: State=%d, Priority=%lu, Stack=%u",
                  taskStatus.eCurrentState, taskStatus.uxCurrentPriority, taskStatus.usStackHighWaterMark);
          logging(LOG_INF, taskStats);

          // I2C Handler Task
          vTaskGetTaskInfo(i2chandlerHandle, &taskStatus, pdTRUE, eRunning);
          snprintf(taskStats, sizeof(taskStats), "I2C Handler Task: State=%d, Priority=%lu, Stack=%u",
                  taskStatus.eCurrentState, taskStatus.uxCurrentPriority, taskStatus.usStackHighWaterMark);
          logging(LOG_INF, taskStats);

          // Write Output Task
          vTaskGetTaskInfo(writeOutputHandle, &taskStatus, pdTRUE, eRunning);
          snprintf(taskStats, sizeof(taskStats), "Write Output Task: State=%d, Priority=%lu, Stack=%u",
                  taskStatus.eCurrentState, taskStatus.uxCurrentPriority, taskStatus.usStackHighWaterMark);
          logging(LOG_INF, taskStats);

          // UART Task
          vTaskGetTaskInfo(uartHandle, &taskStatus, pdTRUE, eRunning);
          snprintf(taskStats, sizeof(taskStats), "UART Task: State=%d, Priority=%lu, Stack=%u",
                  taskStatus.eCurrentState, taskStatus.uxCurrentPriority, taskStatus.usStackHighWaterMark);
          logging(LOG_INF, taskStats);

          // System stats
          logging(LOG_INF, "\r\nSystem Statistics:");
          logging(LOG_INF, "-----------------");
          snprintf(taskStats, sizeof(taskStats), "Free Heap: %d bytes", xPortGetFreeHeapSize());
          logging(LOG_INF, taskStats);
          snprintf(taskStats, sizeof(taskStats), "Minimum Free Heap: %d bytes", xPortGetMinimumEverFreeHeapSize());
          logging(LOG_INF, taskStats);
          snprintf(taskStats, sizeof(taskStats), "Total Runtime: %lu ticks", xTaskGetTickCount());
          logging(LOG_INF, taskStats);

          showMenu = 1;
          break;

        case MENU_MCU:
          // Display MCU information
          logging(LOG_INF, "\r\n=== MCU Information ===");
          logging(LOG_INF, "----------------");

          char mcuInfo[100];

          // Get MCU ID
          uint32_t mcuId = HAL_GetDEVID();
          snprintf(mcuInfo, sizeof(mcuInfo), "MCU ID: 0x%08lX", mcuId);
          logging(LOG_INF, mcuInfo);

          // Get MCU Revision
          uint32_t mcuRev = HAL_GetREVID();
          snprintf(mcuInfo, sizeof(mcuInfo), "MCU Revision: 0x%08lX", mcuRev);
          logging(LOG_INF, mcuInfo);

          // Get UID using LL functions
          uint32_t uid[3];
          uid[0] = LL_GetUID_Word0();
          uid[1] = LL_GetUID_Word1();
          uid[2] = LL_GetUID_Word2();
          snprintf(mcuInfo, sizeof(mcuInfo), "Unique ID: 0x%08lX%08lX%08lX", uid[0], uid[1], uid[2]);
          logging(LOG_INF, mcuInfo);

          // Get Flash Size using LL function
          uint32_t flashSize = LL_GetFlashSize();
          snprintf(mcuInfo, sizeof(mcuInfo), "Flash Size: %lu KB", flashSize);
          logging(LOG_INF, mcuInfo);

          // Get System Clock
          uint32_t sysClock = HAL_RCC_GetSysClockFreq();
          snprintf(mcuInfo, sizeof(mcuInfo), "System Clock: %lu Hz", sysClock);
          logging(LOG_INF, mcuInfo);

          // Get HCLK (AHB) Clock
          uint32_t hclk = HAL_RCC_GetHCLKFreq();
          snprintf(mcuInfo, sizeof(mcuInfo), "HCLK (AHB) Clock: %lu Hz", hclk);
          logging(LOG_INF, mcuInfo);

          // Get PCLK1 (APB1) Clock
          uint32_t pclk1 = HAL_RCC_GetPCLK1Freq();
          snprintf(mcuInfo, sizeof(mcuInfo), "PCLK1 (APB1) Clock: %lu Hz", pclk1);
          logging(LOG_INF, mcuInfo);

          // Get Core Voltage
          uint32_t voltage = HAL_PWREx_GetVoltageRange();
          snprintf(mcuInfo, sizeof(mcuInfo), "Core Voltage Range: %lu", voltage);
          logging(LOG_INF, mcuInfo);

          showMenu = 1;
          break;

        case MENU_HELP:
          logging(LOG_INF, "\r\n=== Help ===");
          logging(LOG_INF, "1. System Status - Shows current system parameters");
          logging(LOG_INF, "2. Display Flag - Shows the CybICS flag");
          logging(LOG_INF, "3. System Controls - Shows control status");
          logging(LOG_INF, "4. FreeRTOS Stats - Shows FreeRTOS task and system statistics");
          logging(LOG_INF, "5. MCU Information - Shows detailed MCU specifications");
          logging(LOG_INF, "6. Help - Shows this help message");
          logging(LOG_INF, "7. Logout - Logs out of the system");
          showMenu = 1;
          break;

        case MENU_LOGOUT:
          loggedIn = 0;
          passwordEntry = 0;  // Reset password entry state
          logging(LOG_INF, "\r\nLogged out successfully.");
          break;

        default:
          logging(LOG_ERR, "\r\nInvalid choice. Please try again.");
          showMenu = 1;
          break;
      }
    }

    osDelay(10);  // Small delay between iterations
  }
  /* USER CODE END Fuart */
}

void HAL_TIM_PeriodElapsedCallback(TIM_HandleTypeDef *htim)
{
  if (htim->Instance == TIM1)
  {
    HAL_IncTick();
  }
}

void Error_Handler(void)
{
  /* USER CODE BEGIN Error_Handler_Debug */
  /* User can add his own implementation to report the HAL error return state */
  __disable_irq();
  logging(LOG_ERR, "Error_Handler");
  while (1)
  {
  }
  /* USER CODE END Error_Handler_Debug */
}

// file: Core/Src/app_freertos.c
/* USER CODE BEGIN Header */
/**
  ******************************************************************************
  * File Name          : app_freertos.c
  * Description        : Code for freertos applications
  ******************************************************************************
  * @attention
  *
  * Copyright (c) 2023 STMicroelectronics.
  * All rights reserved.
  *
  * This software is licensed under terms that can be found in the LICENSE file
  * in the root directory of this software component.
  * If no LICENSE file comes with this software, it is provided AS-IS.
  *
  ******************************************************************************
  */
/* USER CODE END Header */

#include "FreeRTOS.h"
#include "task.h"
#include "main.h"

/* Hook prototypes */
void configureTimerForRunTimeStats(void);
unsigned long getRunTimeCounterValue(void);
void vApplicationStackOverflowHook(xTaskHandle xTask, signed char *pcTaskName);

/* USER CODE BEGIN 1 */
/* Functions needed when configGENERATE_RUN_TIME_STATS is on */
__weak void configureTimerForRunTimeStats(void)
{

}

__weak unsigned long getRunTimeCounterValue(void)
{
return 0;
}
/* USER CODE END 1 */

/* USER CODE BEGIN 4 */
__weak void vApplicationStackOverflowHook(xTaskHandle xTask, signed char *pcTaskName)
{
   /* Run time stack overflow checking is performed if
   configCHECK_FOR_STACK_OVERFLOW is defined to 1 or 2. This hook function is
   called if a stack overflow is detected. */
   while(1){

   }
}
/* USER CODE END 4 */
